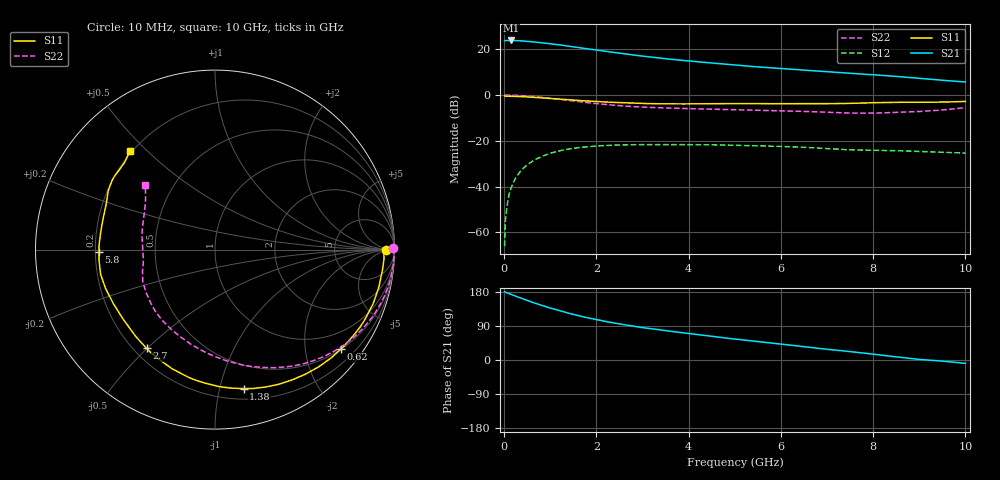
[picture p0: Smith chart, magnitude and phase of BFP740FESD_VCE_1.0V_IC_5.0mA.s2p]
! Infineon Technologies  Discrete & RF Semiconductors
! BFP740FESD
! VCE =  1.0 V,  IC =  5.0 mA
! Common Emitter S-Parameters:  Jan 2016
# GHz  S  MA  R  50
!  f  S11  S21  S12  S22
! GHz  MAG  ANG  MAG  ANG  MAG  ANG  MAG  ANG
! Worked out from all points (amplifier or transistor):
!   233 points, 10 MHz to 10 GHz, reference 50 ohm
!   highest |S21| = 23.8 dB at 150 MHz (marker M1)
!   |S21| within 3 dB of that: start of sweep to 1.585 GHz
!   unconditionally stable (mu >= 1): 7.205 GHz to end of sweep
!   at 200 MHz: K = 0.02, MSG = 31.0 dB, |S12| = -38.2 dB
!   at 1.74 GHz: K = 0.20, MSG = 21.6 dB, |S12| = -22.7 dB
!   at 10 GHz: K = 1.54, MAG = 11.2 dB, |S12| = -25.4 dB
!   S11 on the Smith chart (normalised r, x): 10 MHz: 42, -2; 620 MHz: 0.51, -2.80; 1.38 GHz: 0.29, -1.18; 2.7 GHz: 0.25, -0.50; 5.8 GHz: 0.21, -0.01; 10 GHz: 0.19, +0.44
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0.01  0.9535 -0.1  15.42 179.7  0.0005 53.7  0.9903 0.5
0.02  0.9408 -1.3  15.43 179.3  0.0013 86.8  0.9979 -1.0
0.05  0.943 -3.1  15.45 177.6  0.003 89.9  0.9977 -2.3
0.15  0.9369 -9.6  15.56 173.2  0.0093 84.3  0.9946 -7.2
0.34  0.9262 -21.5  15.29 164.3  0.0207 76.7  0.9767 -16.1
0.62  0.8939 -38.3  14.52 151.9  0.0361 66.1  0.9304 -28.6
0.82  0.8685 -49.7  13.83 143.9  0.0458 59.1  0.8897 -37.2
1  0.8434 -59.5  13.2 137.1  0.0534 53.2  0.8495 -44.6
1.2  0.8154 -69.9  12.46 129.9  0.0605 47.0  0.8037 -52.4
1.38  0.7903 -78.4  11.76 123.9  0.0656 41.8  0.7622 -59.0
1.68  0.7536 -91.4  10.68 114.9  0.0721 34.3  0.7015 -69.1
1.88  0.7337 -99.0  9.986 109.5  0.0754 29.9  0.6672 -75.4
2.2  0.7053 -109.9  9.01 101.7  0.0789 23.7  0.621 -84.5
2.7  0.6687 -124.8  7.722 91.1  0.0819 15.6  0.5667 -97.4
3  0.6554 -132.3  7.072 85.4  0.0826 11.5  0.5453 -103.9
3.4  0.6428 -140.7  6.357 79.1  0.0825 7.3  0.5257 -110.6
4.4  0.6448 -158.8  5.109 63.9  0.0821 -1.6  0.4935 -125.4
5.1  0.6506 -169.2  4.431 54.0  0.0796 -7.2  0.475 -135.5
5.8  0.6466 -178.8  3.921 44.7  0.0764 -11.9  0.4564 -145.1
6.8  0.6452 166.5  3.339 31.1  0.0695 -17.3  0.4285 -160.2
8.4  0.6907 146.1  2.598 9.7  0.0612 -17.5  0.4142 169.1
10  0.725 131.0  1.926 -8.9  0.054 -17.1  0.5301 137.0
